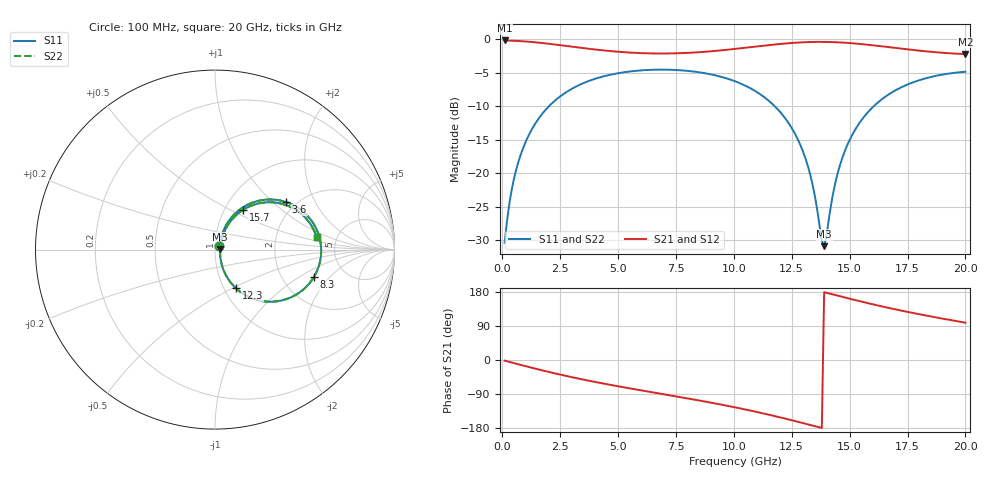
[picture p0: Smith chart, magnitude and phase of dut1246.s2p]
! Touchstone file exported from HFSS 2026.1.0
!  File:  C:/ffzhzh/LocalFiles/Ansys_Project_Files/temp_train_TSV_RDL_1246_1783324670_38704.aedt
!  Generated:  04:14:45 PM Jul  6, 2026
!  Design:  TSV_RDL
!  Project:  temp_train_TSV_RDL_1246_1783324670_38704
! Variables:
!  h_bsmrdl = 5.14um
!  h_ox = 20um
!  h_rdl = 5um
!  h_sub = 89.59um
!  h_tmrdl = 4.04um
!  h_tsv = 89.59um
!  h_via = 3um
!  l_bsmrdl = 959.56um
!  l_sub = 4305.1um
!  l_tmrdl = 219.27um
!  m_sub = 200um
!  pitch = 55.94um
!  r_tsv = 2.3um
!  s_tmrdl = 10um
!  w_bsmrdl = 22.21um
!  w_sub = 500um
!  w_tmrdl = 27.57um
!  x_tsv_center1 = 233.055um
!  x_tsv_center2 = 1214.825um
!  x_tsv_center3 = 1461.665um
!  x_tsv_center4 = 2443.435um
!  x_tsv_center5 = 2690.275um
!  x_tsv_center6 = 3672.045um
# GHz S MA R 50.000000
! Terminal data exported
! Port[1] = TM_RDL1_1_T1
! Port[2] = TM_RDL5_1_T1
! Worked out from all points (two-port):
!   200 points, 100 MHz to 20 GHz, reference 50 ohm
!   highest |S21| = -0.22 dB at 100 MHz (marker M1); lowest = -2.2 dB at 20 GHz (marker M2)
!   |S21| within 3 dB of the highest: start of sweep to end of sweep
!   lowest |S11| = -30.8 dB at 13.9 GHz (marker M3), VSWR 1.06, Z = 52.9 + j0.17 ohm
!   |S11| at or under -10 dB: start of sweep to 2.019 GHz; 11.76 GHz to 16.04 GHz (4.282 GHz wide, 30.8 % of centre)
!   |S22| runs from -30.8 to -4.6 dB; largest |S21 - S12| = 1.8e-14
!   S11 on the Smith chart (normalised r, x): 100 MHz: 1.05, +0.04; 3.6 GHz: 1.78, +1.22; 8.3 GHz: 2.98, -1.36; 12.3 GHz: 1.14, -0.52; 15.7 GHz: 1.22, +0.59; 20 GHz: 3.50, +0.71
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0.1  0.03046 34.8  0.9754 -1.7  0.9754 -1.7  0.03046 34.8
! Gamma 0 0 0 0
! Port Impedance 50 0 50 0
0.3  0.0587 59.0  0.9729 -5.0  0.9729 -5.0  0.0587 59.0
0.5  0.09029 64.8  0.9699 -8.2  0.9699 -8.2  0.09029 64.8
1.1  0.1856 63.8  0.9559 -17.8  0.9559 -17.8  0.1856 63.8
2.1  0.3266 52.2  0.9176 -32.9  0.9176 -32.9  0.3266 52.2
3.5  0.4691 34.9  0.855 -51.7  0.855 -51.7  0.4691 34.9
3.6  0.4769 33.8  0.8509 -53.0  0.8509 -53.0  0.4769 33.8
5.2  0.5635 16.0  0.7988 -71.6  0.7988 -71.6  0.5635 16.0
6.8  0.5916 -0.3  0.7797 -88.6  0.7797 -88.6  0.5916 -0.3
8.3  0.5715 -15.6  0.7934 -104.6  0.7934 -104.6  0.5715 -15.6
10.1  0.4808 -35.3  0.8456 -125.5  0.8456 -125.5  0.4809 -35.3
11.3  0.3706 -49.6  0.8928 -141.4  0.8928 -141.4  0.3706 -49.6
12.3  0.2454 -61.5  0.9285 -155.9  0.9285 -155.9  0.2455 -61.5
12.9  0.1583 -66.8  0.9435 -165.1  0.9435 -165.1  0.1584 -66.7
13.4  0.08255 -64.6  0.9505 -173.0  0.9505 -173.0  0.08259 -64.6
13.8  0.03146 -25.9  0.9518 -179.4  0.9518 -179.4  0.03149 -25.9
13.9  0.02868 3.2  0.9515 179.0  0.9515 179.0  0.02869 3.1
14.3  0.07276 58.2  0.9479 172.7  0.9479 172.7  0.07273 58.2
14.6  0.1175 62.7  0.9428 168.0  0.9428 168.0  0.1175 62.7
15.7  0.2735 54.5  0.9098 151.3  0.9098 151.3  0.2735 54.5
16.7  0.3881 42.7  0.8695 137.3  0.8695 137.3  0.3881 42.7
20  0.5704 6.9  0.7724 98.4  0.7724 98.4  0.5704 6.9
